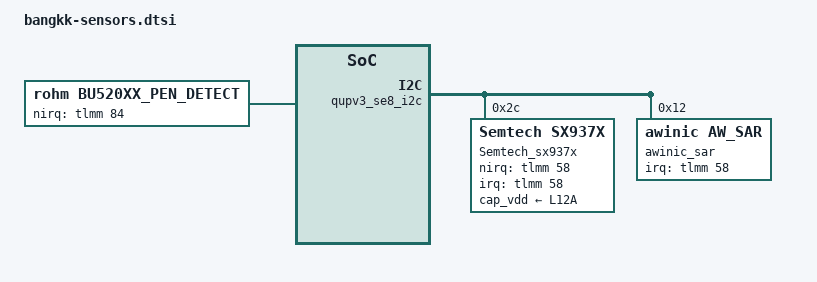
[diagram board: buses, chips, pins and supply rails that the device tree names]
/*
 * Copyright (c) 2019, The Linux Foundation. All rights reserved.
 *
 * This program is free software; you can redistribute it and/or modify
 * it under the terms of the GNU General Public License version 2 and
 * only version 2 as published by the Free Software Foundation.
 *
 * This program is distributed in the hope that it will be useful,
 * but WITHOUT ANY WARRANTY; without even the implied warranty of
 * MERCHANTABILITY or FITNESS FOR A PARTICULAR PURPOSE.  See the
 * GNU General Public License for more details.
 */

&tlmm {
	pen_int_default: pen_int_default {
			mux {
				pins = "gpio84";
				function =  "gpio";
			};
			config {
				pins = "gpio84";
				num-grp-pins = <1>;
				drive-strength = <2>;
				bias-no-pull;
			};
	};

	pen_int_sleep: pen_int_sleep {
			mux {
				pins = "gpio84";
				function =  "gpio";
			};
			config {
				pins = "gpio84";
				num-grp-pins = <1>;
				drive-strength = <2>;
				bias-no-pull;
			};
	};
	sar_int_bangkk_default: sar_int_bangkk_default {
			mux {
				pins = "gpio58";
				function =  "gpio";
			};
			config {
				pins = "gpio58";
				num-grp-pins = <1>;
				drive-strength = <2>;
				bias-pull-up;
			};
	};

	sar_int_bangkk_sleep: sar_int_bangkk_sleep {
			mux {
				pins = "gpio58";
				function =  "gpio";
			};
			config {
				pins = "gpio58";
				num-grp-pins = <1>;
				drive-strength = <2>;
				bias-pull-up;
			};
	};
};

&soc {
	pen_detect{
		compatible = "rohm,bu520xx_pen_detect";
		pinctrl-names = "default","sleep";
		pinctrl-0 = <&pen_int_default>;
		pinctrl-1 = <&pen_int_sleep>;
		rohm,nirq-gpio=<&tlmm 84 0x02>;
	};
};

&qupv3_se8_i2c {
	status = "okay";

	sx937x@2c {
		status = "disabled";
	};

	Semtech_sx937x@2c {
			compatible = "Semtech,sx937x";
			reg = <0x2c>;
			Semtech,power-supply-type = <1>;
			cap_vdd-supply = <&L12A>;
			pinctrl-names = "default","sleep";
			pinctrl-0 = <&sar_int_bangkk_default>;
			pinctrl-1 = <&sar_int_bangkk_sleep>;
			interrupt-parent = <&tlmm>;
			interrupts = <58 0x02>;
			interrupt-names = "sx937x_irq";
			Semtech,nirq-gpio = <&tlmm 58 0x02>;
			/*use PH5/6 as the reference sensor
			set it to 0xff if the ref-phases-x is not used*/
			Semtech,ref-phases-a = <5>;
			Semtech,ref-phases-b = <6>;
			Semtech,ref-phases-c = <0xff>;
			Semtech,button-flag = <0x1f>;
                        reinit-on-i2c-failure = <1>;
			Semtech,reg-num = <66>;
			Semtech,reg-init = <
				0x4004 0x78
				0x4008 0x8
				0x8020 0x32
				0x8028 0x45F
				0x8034 0x45F
				0x8040 0x45F
				0x804C 0x45F
				0x8058 0x45F
				0x8064 0x45E
				0x8070 0x45E
				0x807C 0x45E
				0x8030 0x924925
				0x803C 0xB24924
				0x8048 0x924964
				0x8054 0x925924
				0x8060 0x964924
				0x806C 0x92492C
				0x8078 0x92C924
				0x8084 0x924924
				0x8098 0x685A
				0x80B8 0x2D23
				0x80D8 0x4D40
				0x80F8 0x5A47
				0x8118 0x4637
				0x8138 0xFF
				0x8158 0xFF
				0x8178 0xFF
				0x80A0 0x20200001
				0x80C0 0x1A1A0002
				0x80E0 0x20200001
				0x8100 0x0
				0x8120 0x20200002
				0x8140 0x0
				0x8160 0x0
				0x8180 0x0
				0x8188 0x8000015
				0x818C 0x8000016
				0x8190 0x0
				0x8194 0x0
				0x8090 0x50B05200
				0x80B0 0x50B05102
				0x80D0 0x50B05200
				0x80F0 0x50B05100
				0x8110 0x50B05100
				0x8130 0x54AC5300
				0x8150 0x54AC5300
				0x8170 0x54AC5300
				0x8088 0x300000
				0x80A8 0x300000
				0x80C8 0x300000
				0x80E8 0x300000
				0x8108 0x300000
				0x8128 0x300000
				0x8148 0x300000
				0x8168 0x300000
				0x808C 0x60200020
				0x80AC 0x60200010
				0x80CC 0x60200020
				0x80EC 0x60200010
				0x810C 0x60200010
				0x812C 0x60200031
				0x814C 0x60200031
				0x816C 0x60200031
				0x8024 0x7F7F
				0x8274 0x2E040000
				0x4280 0x0E
			>;
	};
	awinic_sar@12 {
		/* common node */
		compatible = "awinic,aw_sar";
		reg = < 0x12 >;
		//aw_sar,regulator-power-supply = <1>;
		sar-num = < 0 >;
		interrupt-parent = < &tlmm >;
		interrupts = <58 0x02>;
		interrupt-names = "awinic_irq";
		irq-gpio = <&tlmm 58 0x02>;
		//vcc0-supply = <&L12A>;
		channel_use_flag = <0x1f>;
		aw_sar,use_plug_cail;
		aw_sar,update_fw;
		/* private node belongs to aw963xx */
		start-mode = < 1 >; // 0: start in rom  1: start in ram
		irq-mux = < 2 >; // set csx as irq pin. config this field when connect to aw96308/aw96310
		status = "okay";
	};
};

